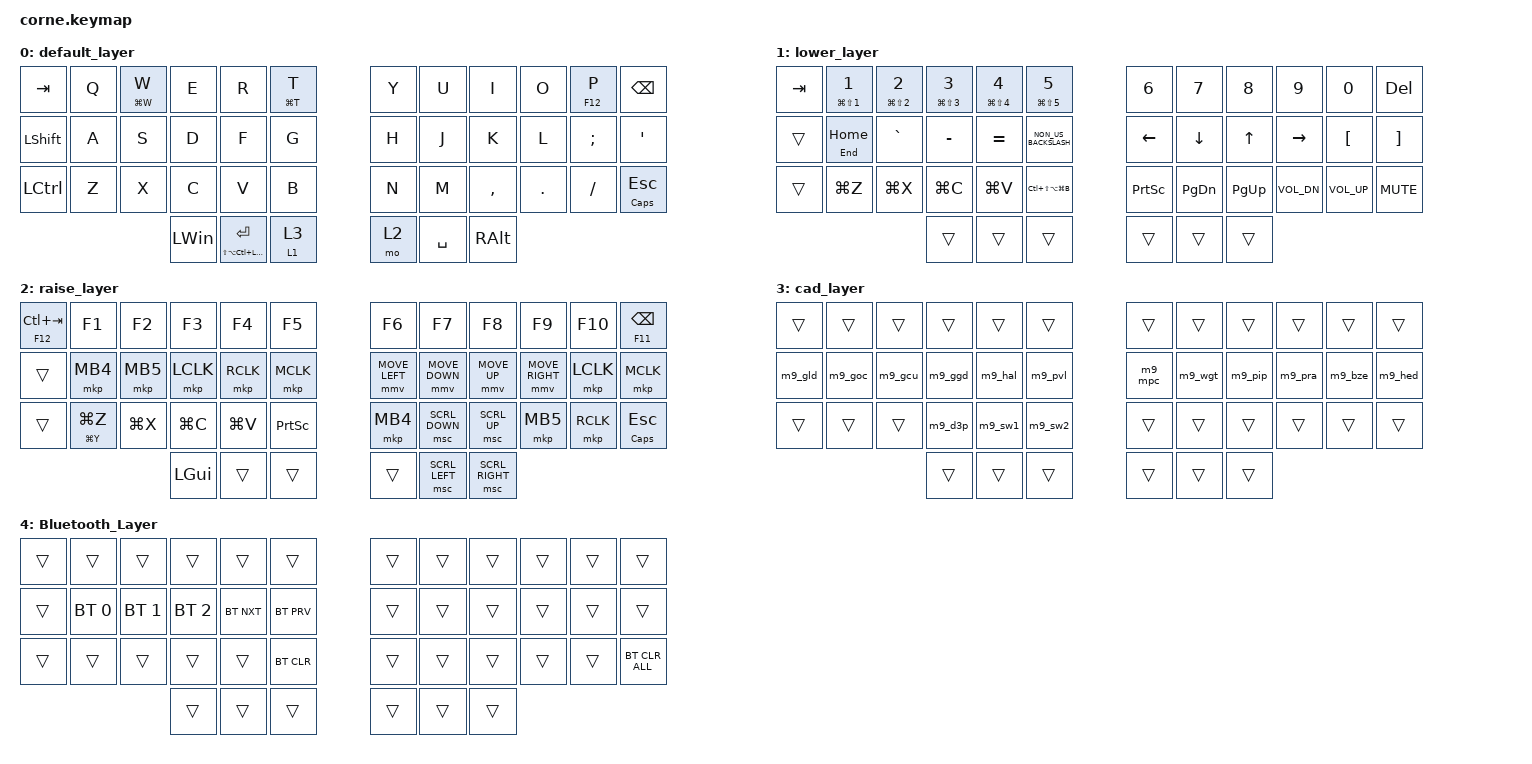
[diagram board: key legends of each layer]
/*
 * Copyright (c) 2020 The ZMK Contributors
 *
 * SPDX-License-Identifier: MIT
 */

#define ZMK_POINTING_DEFAULT_MOVE_VAL 2000
#define ZMK_POINTING_DEFAULT_SCRL_VAL 12

#include <behaviors.dtsi>
#include <dt-bindings/zmk/bt.h>
#include <dt-bindings/zmk/keys.h>
#include <dt-bindings/zmk/pointing.h>
#include "custom_shortcut.dtsi"

/ {
    behaviors {
        hmr: hmr {
            compatible = "zmk,behavior-hold-tap";
            label = "HMR";
            bindings = <&kp>, <&kp>;

            #binding-cells = <2>;
            tapping-term-ms = <290>;
            quick-tap-ms = <175>;
            flavor = "tap-preferred";
            hold-trigger-key-positions = <0 12 24 25 13 1 2 14 26 27 15 3 4 16 28 29 17 5 36 37 38 39 40 41 6 7 8 9 10 11 18 19 20 21 22 23 30 31 32 33 34 35 39 40 41>;
            hold-trigger-on-release;
        };

        lower_layer: lower_layer {
            compatible = "zmk,behavior-hold-tap";
            label = "LOWER_LAYER";
            bindings = <&mo>, <&sl>;

            #binding-cells = <2>;
            tapping-term-ms = <280>;
            quick-tap-ms = <175>;
            require-prior-idle-ms = <0>;
            flavor = "balanced";
        };
    };

    combos {
        compatible = "zmk,combos";

        openlayer {
            bindings = <&mo 4>;
            key-positions = <37 40>;
            layers = <0>;
            slow-release;
        };
    };

    macros {
        sw1: sw1 {
            compatible = "zmk,behavior-macro";
            #binding-cells = <0>;
            bindings = <&kp S &kp W &kp N1>;
            label = "SW1";
        };
    };

    keymap {
        compatible = "zmk,keymap";

        default_layer {
            bindings = <
&kp TAB         &kp Q  &hmr LG(W) W  &kp E         &kp R                        &hmr LG(T) T        &kp Y  &kp U      &kp I          &kp O    &hmr F12 P  &kp BSPC
&kp LEFT_SHIFT  &kp A  &kp S         &kp D         &kp F                        &kp G               &kp H  &kp J      &kp K          &kp L    &kp SEMI    &kp SQT
&kp LCTRL       &kp Z  &kp X         &kp C         &kp V                        &kp B               &kp N  &kp M      &kp COMMA      &kp DOT  &kp FSLH    &hmr CAPSLOCK ESC
                                     &kp LEFT_WIN  &hmr LS(LA(LC(LCMD))) ENTER  &lower_layer 1 3    &mo 2  &kp SPACE  &kp RIGHT_ALT
            >;
        };

        lower_layer {
            bindings = <
&kp TAB  &hmr LG(LS(N1)) NUMBER_1  &hmr LG(LS(N2)) N2  &hmr LG(LS(N3)) N3  &hmr LG(LS(N4)) N4  &hmr LG(LS(N5)) N5       &kp N6           &kp N7         &kp N8       &kp N9        &kp N0           &kp DEL
&trans   &hmr END HOME             &kp GRAVE           &kp MINUS           &kp EQUAL           &kp NON_US_BACKSLASH     &kp LEFT_ARROW   &kp DOWN       &kp UP       &kp RIGHT     &kp LBKT         &kp RBKT
&trans   &kp LG(Z)                 &kp LG(X)           &kp LG(C)           &kp LG(V)           &kp LC(LS(LA(LG(B))))    &kp PRINTSCREEN  &kp PAGE_DOWN  &kp PAGE_UP  &kp C_VOL_DN  &kp C_VOLUME_UP  &kp K_MUTE
                                                       &trans              &trans              &trans                   &trans           &trans         &trans
            >;
        };

        raise_layer {
            bindings = <
&hmr F12 LC(TAB)  &kp F1            &kp F2     &kp F3        &kp F4     &kp F5             &kp F6          &kp F7          &kp F8           &kp F9           &kp F10    &hmr F11 BACKSPACE
&trans            &mkp MB4          &mkp MB5   &mkp LCLK     &mkp RCLK  &mkp MCLK          &mmv MOVE_LEFT  &mmv MOVE_DOWN  &mmv MOVE_UP     &mmv MOVE_RIGHT  &mkp LCLK  &mkp MCLK
&trans            &hmr LG(Y) LG(Z)  &kp LG(X)  &kp LG(C)     &kp LG(V)  &kp PRINTSCREEN    &mkp MB4        &msc SCRL_DOWN  &msc SCRL_UP     &mkp MB5         &mkp RCLK  &hmr CAPSLOCK ESC
                                               &kp LEFT_GUI  &trans     &trans             &trans          &msc SCRL_LEFT  &msc SCRL_RIGHT
            >;
        };

        cad_layer {
            bindings = <
&trans   &trans   &trans   &trans   &trans   &trans     &trans   &trans   &trans   &trans   &trans   &trans
&m9_gld  &m9_goc  &m9_gcu  &m9_ggd  &m9_hal  &m9_pvl    &m9_mpc  &m9_wgt  &m9_pip  &m9_pra  &m9_bze  &m9_hed
&trans   &trans   &trans   &m9_d3p  &m9_sw1  &m9_sw2    &trans   &trans   &trans   &trans   &trans   &trans
                           &trans   &trans   &trans     &trans   &trans   &trans
            >;
        };

        Bluetooth_Layer {
            bindings = <
&trans  &trans        &trans        &trans        &trans      &trans        &trans  &trans  &trans  &trans  &trans  &trans
&trans  &bt BT_SEL 0  &bt BT_SEL 1  &bt BT_SEL 2  &bt BT_NXT  &bt BT_PRV    &trans  &trans  &trans  &trans  &trans  &trans
&trans  &trans        &trans        &trans        &trans      &bt BT_CLR    &trans  &trans  &trans  &trans  &trans  &bt BT_CLR_ALL
                                    &trans        &trans      &trans        &trans  &trans  &trans
            >;
        };
    };
};

/* Pointing configuration must be outside the root node. */

&msc {
    acceleration-exponent = <2>;
    time-to-max-speed-ms = <100>;
};
